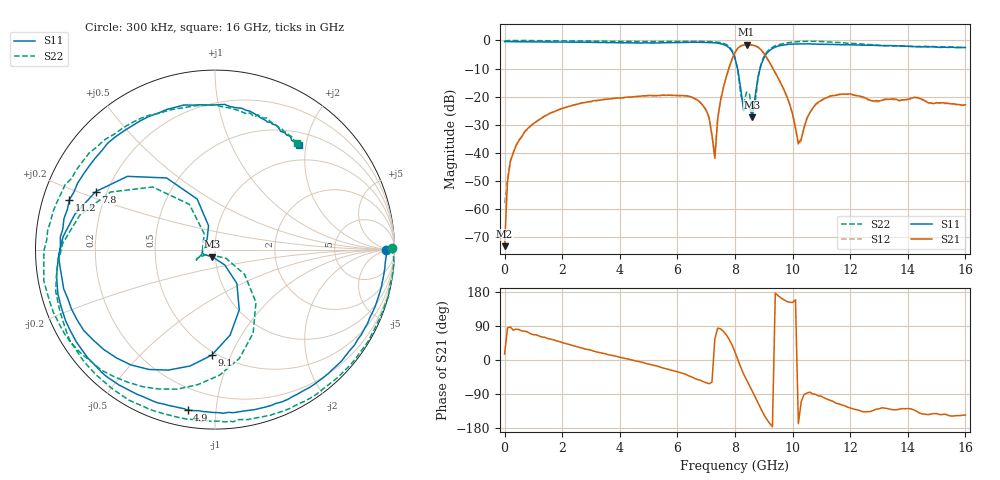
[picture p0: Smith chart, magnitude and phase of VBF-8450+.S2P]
! Mini-Circuits
! S2P DATA File Format
! Type: BAND Pass Filter
! Model: VBF-8450+
! Note: All S Parameters are in dB deg format
! TEST CONDITIONS: INPUT POWER = 0dBm @Temperature = +25degC
! 401 Frequency points
# Hz S  dB  R 50
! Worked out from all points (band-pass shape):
!   161 points, 300 kHz to 16 GHz, reference 50 ohm
!   highest |S21| = -1.52 dB at 8.4 GHz (marker M1); lowest = -73.4 dB at 300 kHz (marker M2)
!   |S21| within 3 dB of the highest: 7.988 GHz to 8.997 GHz (1.008 GHz wide, 11.9 % of centre)
!   lowest |S11| = -27.4 dB at 8.6 GHz (marker M3), VSWR 1.09, Z = 48.3 - j3.85 ohm
!   |S11| at or under -10 dB: 8.088 GHz to 8.872 GHz (783.7 MHz wide, 9.24 % of centre)
!   |S22| runs from -25.9 to 0.0 dB; largest |S21 - S12| = 0.0084
!   S11 on the Smith chart (normalised r, x): 300 kHz: 41, +0; 4.9 GHz: 0.08, -0.84; 7.8 GHz: 0.16, +0.22; 9.1 GHz: 0.47, -0.85; 11.2 GHz: 0.08, +0.17; 16 GHz: 0.70, +1.88
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300000  -0.42 0.0  -73.39 15.9  -57.98 -40.7  -0.15 0.4
1.002985e8  -0.40 -2.1  -50.41 84.6  -49.09 85.1  -0.04 -2.4
4.00294e8  -0.44 -8.8  -37.45 81.3  -37.34 83.2  -0.01 -8.8
2.70026e9  -0.65 -58.0  -22.25 31.2  -22.21 31.6  -0.15 -57.6
4.900226e9  -0.85 -99.7  -19.73 -9.1  -19.70 -8.7  -0.39 -92.8
5.400219e9  -0.85 -108.3  -19.63 -18.6  -19.63 -18.0  -0.38 -101.1
6.800198e9  -0.65 -142.8  -22.14 -53.5  -22.18 -53.7  -0.34 -133.2
7.100194e9  -0.71 -154.6  -27.51 -62.5  -27.56 -63.1  -0.40 -144.2
7.30019e9  -0.82 -164.2  -42.05 55.6  -40.94 50.1  -0.54 -153.4
7.400189e9  -0.96 -170.3  -27.73 84.3  -27.83 84.2  -0.64 -158.8
7.800183e9  -2.63 154.1  -9.52 54.0  -9.53 54.2  -2.18 165.8
8.00018e9  -6.34 124.0  -4.25 20.8  -4.27 20.6  -6.16 134.8
8.200177e9  -17.21 105.1  -1.93 -19.3  -1.99 -19.4  -19.43 124.3
8.400174e9  -22.54 -167.7  -1.52 -52.5  -1.59 -52.8  -18.43 -150.6
8.600171e9  -27.38 -111.5  -1.62 -82.2  -1.63 -82.0  -25.94 -150.0
9.100164e9  -4.61 -91.8  -6.15 -156.2  -6.04 -155.8  -4.13 -77.4
9.800153e9  -1.45 -143.6  -20.03 154.6  -19.94 154.7  -0.88 -128.3
1.020015e10  -1.26 -161.7  -36.73 -168.1  -37.33 -168.2  -0.41 -146.4
1.070014e10  -1.30 179.0  -24.19 -89.4  -24.16 -88.8  -0.30 -166.2
1.120013e10  -1.34 161.0  -20.38 -103.3  -20.32 -102.9  -0.54 176.8
1.34001e10  -1.82 86.2  -20.95 -129.8  -20.90 -128.8  -1.84 99.1
1.600006e10  -2.49 51.2  -22.93 -145.3  -22.96 -145.2  -2.51 52.3
